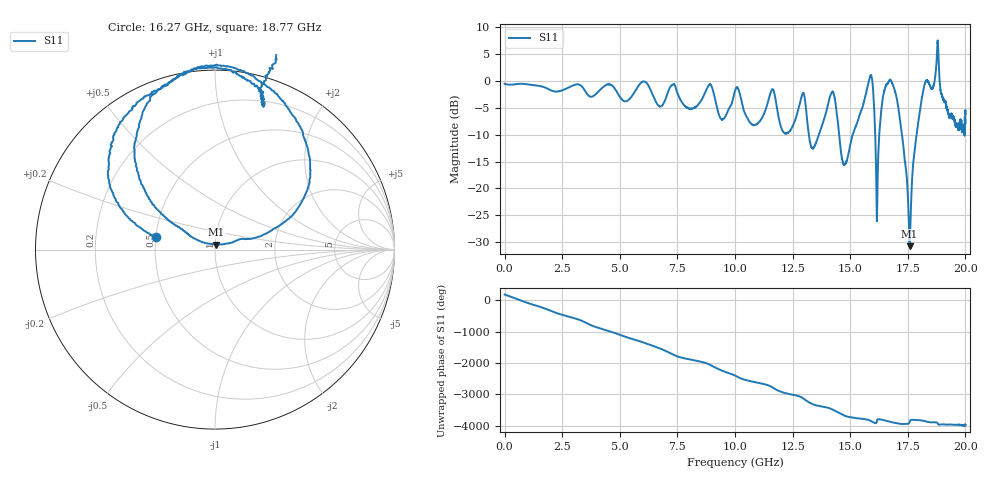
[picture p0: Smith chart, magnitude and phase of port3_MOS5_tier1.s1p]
! Created with skrf 1.8.0 (http://scikit-rf.org).
# GHz S RI R 50.0
!freq ReS11 ImS11
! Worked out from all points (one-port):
!   10001 points, 1 MHz to 20 GHz, reference 50 ohm
!   lowest |S11| = -30.8 dB at 17.58 GHz (marker M1), VSWR 1.06, Z = 50.6 + j2.86 ohm
!   |S11| at or under -10 dB: 13.21 GHz to 13.64 GHz (439.2 MHz wide, 3.27 % of centre); 14.52 GHz to 15.11 GHz (588.4 MHz wide, 3.97 % of centre); 17.25 GHz to 17.88 GHz (631.7 MHz wide, 3.6 % of centre) (the widest 3 of 5)
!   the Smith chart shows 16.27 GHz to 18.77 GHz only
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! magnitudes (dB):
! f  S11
! 1 MHz  -0.5
! 2.501 GHz  -1.7
! 5.001 GHz  -2.9
! 7.501 GHz  -2.3
! 8.133 GHz  -5.2
! 8.929 GHz  -0.6
! 9.453 GHz  -7.2
! 10 GHz  -1.8
! 10.83 GHz  -8.2
! 11.63 GHz  -1.5
! 12.07 GHz  -9.4
! 12.5 GHz  -8.4
! 12.96 GHz  -2.2
! 13.41 GHz  -12.4
! 14.23 GHz  -2.0
! 14.69 GHz  -15.3
! 15 GHz  -11.8
! 15.88 GHz  1.0
! 16.18 GHz  -19.7
! 16.43 GHz  -2.8
! 16.77 GHz  0.1
! 17.14 GHz  -6.5
! 17.5 GHz  -21.1
! 17.58 GHz  -30.8
! 18.13 GHz  -2.6
! 18.76 GHz  4.6
! 19.27 GHz  -6.1
! 20 GHz  -6.2
